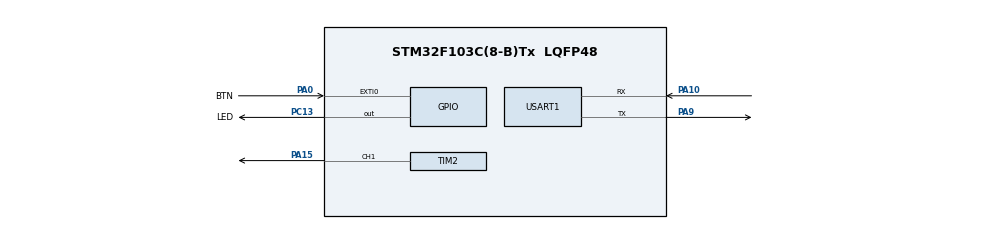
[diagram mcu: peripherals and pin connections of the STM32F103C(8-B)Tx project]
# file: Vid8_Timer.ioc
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Mcu.Family=STM32F1
Mcu.Name=STM32F103C(8-B)Tx
Mcu.Package=LQFP48
NVIC.EXTI0_IRQn=true\:0\:0\:false\:false\:true\:true\:true\:true
NVIC.PriorityGroup=NVIC_PRIORITYGROUP_4
NVIC.TIM2_IRQn=true\:0\:0\:false\:false\:true\:true\:true\:true
PA0-WKUP.GPIO_Label=BTN
PA0-WKUP.GPIO_ModeDefaultEXTI=GPIO_MODE_IT_RISING
PA0-WKUP.GPIO_PuPd=GPIO_PULLUP
PA0-WKUP.Signal=GPXTI0
PA10.Mode=Asynchronous
PA10.Signal=USART1_RX
PA13.Mode=Serial_Wire
PA13.Signal=SYS_JTMS-SWDIO
PA14.Mode=Serial_Wire
PA14.Signal=SYS_JTCK-SWCLK
PA15.Signal=S_TIM2_CH1_ETR
PA9.Mode=Asynchronous
PA9.Signal=USART1_TX
PC13-TAMPER-RTC.GPIO_Label=LED
PC13-TAMPER-RTC.GPIO_ModeDefaultOutputPP=GPIO_MODE_OUTPUT_OD
PC13-TAMPER-RTC.GPIO_PuPd=GPIO_NOPULL
PC13-TAMPER-RTC.PinState=GPIO_PIN_SET
PC13-TAMPER-RTC.Signal=GPIO_Output
ProjectManager.HeapSize=0x200
ProjectManager.StackSize=0x400
ProjectManager.TargetToolchain=STM32CubeIDE
RCC.APB1Freq_Value=8000000
RCC.APB2Freq_Value=8000000
SH.S_TIM2_CH1_ETR.0=TIM2_CH1,PWM Generation1 CH1
TIM2.Channel-PWM\ Generation1\ CH1=TIM_CHANNEL_1
TIM2.Period=999
TIM2.Prescaler=7999
TIM2.Pulse-PWM\ Generation1\ CH1=499
USART1.VirtualMode=VM_ASYNC
VP_TIM2_VS_ClockSourceINT.Mode=Internal
board=custom

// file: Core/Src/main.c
/* USER CODE BEGIN Header */
/**
  ******************************************************************************
  * @file           : main.c
  * @brief          : Main program body
  ******************************************************************************
  * @attention
  *
  * Copyright (c) 2026 STMicroelectronics.
  * All rights reserved.
  *
  * This software is licensed under terms that can be found in the LICENSE file
  * in the root directory of this software component.
  * If no LICENSE file comes with this software, it is provided AS-IS.
  *
  ******************************************************************************
  */
/* USER CODE END Header */
#include "main.h"

/* USER CODE BEGIN Includes */
#include "stdio.h"
/* USER CODE END Includes */

TIM_HandleTypeDef htim2;

UART_HandleTypeDef huart1;

/* USER CODE BEGIN PV */
uint8_t btn_press = 0;
uint8_t timer2_interupt = 0;
/* USER CODE END PV */

void SystemClock_Config(void);
static void MX_GPIO_Init(void);
static void MX_TIM2_Init(void);
static void MX_USART1_UART_Init(void);

/* USER CODE BEGIN 0 */
int _write(int fd, char* ptr, int len) {
  HAL_StatusTypeDef hstatus;

  if (fd == 1 || fd == 2) {
	hstatus = HAL_UART_Transmit(&huart1, (uint8_t *) ptr, len, HAL_MAX_DELAY);
	if (hstatus == HAL_OK)
	  return len;
	else
	  return -1;
  }
  return -1;
}

void HAL_GPIO_EXTI_Callback(uint16_t GPIO_Pin){
	if(GPIO_Pin == BTN_Pin){
		btn_press = 1;
	}
}

void HAL_TIM_PeriodElapsedCallback(TIM_HandleTypeDef *htim)
{
	timer2_interupt = 1;
}
/* USER CODE END 0 */

int main(void)
{

  /* MCU Configuration--------------------------------------------------------*/

  /* Reset of all peripherals, Initializes the Flash interface and the Systick. */
  HAL_Init();

  /* Configure the system clock */
  SystemClock_Config();

  /* Initialize all configured peripherals */
  MX_GPIO_Init();
  MX_TIM2_Init();
  MX_USART1_UART_Init();
  /* USER CODE BEGIN 2 */
  HAL_TIM_Base_Start_IT(&htim2);
  HAL_TIM_PWM_Start(&htim2, TIM_CHANNEL_1);
  /* USER CODE END 2 */

  /* Infinite loop */
  /* USER CODE BEGIN WHILE */
  printf("Start processing......\r\n");

  while (1)
  {
    /* USER CODE END WHILE */

    /* USER CODE BEGIN 3 */
	  if(timer2_interupt == 1){
		  HAL_GPIO_TogglePin(LED_GPIO_Port, LED_Pin);
		  timer2_interupt = 0;
	  }
  }
  /* USER CODE END 3 */
}

void SystemClock_Config(void)
{
  RCC_OscInitTypeDef RCC_OscInitStruct = {0};
  RCC_ClkInitTypeDef RCC_ClkInitStruct = {0};

  /** Initializes the RCC Oscillators according to the specified parameters
  * in the RCC_OscInitTypeDef structure.
  */
  RCC_OscInitStruct.OscillatorType = RCC_OSCILLATORTYPE_HSI;
  RCC_OscInitStruct.HSIState = RCC_HSI_ON;
  RCC_OscInitStruct.HSICalibrationValue = RCC_HSICALIBRATION_DEFAULT;
  RCC_OscInitStruct.PLL.PLLState = RCC_PLL_NONE;
  if (HAL_RCC_OscConfig(&RCC_OscInitStruct) != HAL_OK)
  {
    Error_Handler();
  }

  /** Initializes the CPU, AHB and APB buses clocks
  */
  RCC_ClkInitStruct.ClockType = RCC_CLOCKTYPE_HCLK|RCC_CLOCKTYPE_SYSCLK
                              |RCC_CLOCKTYPE_PCLK1|RCC_CLOCKTYPE_PCLK2;
  RCC_ClkInitStruct.SYSCLKSource = RCC_SYSCLKSOURCE_HSI;
  RCC_ClkInitStruct.AHBCLKDivider = RCC_SYSCLK_DIV1;
  RCC_ClkInitStruct.APB1CLKDivider = RCC_HCLK_DIV1;
  RCC_ClkInitStruct.APB2CLKDivider = RCC_HCLK_DIV1;

  if (HAL_RCC_ClockConfig(&RCC_ClkInitStruct, FLASH_LATENCY_0) != HAL_OK)
  {
    Error_Handler();
  }
}

static void MX_TIM2_Init(void)
{

  TIM_ClockConfigTypeDef sClockSourceConfig = {0};
  TIM_MasterConfigTypeDef sMasterConfig = {0};
  TIM_OC_InitTypeDef sConfigOC = {0};

  htim2.Instance = TIM2;
  htim2.Init.Prescaler = 7999;
  htim2.Init.CounterMode = TIM_COUNTERMODE_UP;
  htim2.Init.Period = 999;
  htim2.Init.ClockDivision = TIM_CLOCKDIVISION_DIV1;
  htim2.Init.AutoReloadPreload = TIM_AUTORELOAD_PRELOAD_DISABLE;
  if (HAL_TIM_Base_Init(&htim2) != HAL_OK)
  {
    Error_Handler();
  }
  sClockSourceConfig.ClockSource = TIM_CLOCKSOURCE_INTERNAL;
  if (HAL_TIM_ConfigClockSource(&htim2, &sClockSourceConfig) != HAL_OK)
  {
    Error_Handler();
  }
  if (HAL_TIM_PWM_Init(&htim2) != HAL_OK)
  {
    Error_Handler();
  }
  sMasterConfig.MasterOutputTrigger = TIM_TRGO_RESET;
  sMasterConfig.MasterSlaveMode = TIM_MASTERSLAVEMODE_DISABLE;
  if (HAL_TIMEx_MasterConfigSynchronization(&htim2, &sMasterConfig) != HAL_OK)
  {
    Error_Handler();
  }
  sConfigOC.OCMode = TIM_OCMODE_PWM1;
  sConfigOC.Pulse = 499;
  sConfigOC.OCPolarity = TIM_OCPOLARITY_HIGH;
  sConfigOC.OCFastMode = TIM_OCFAST_DISABLE;
  if (HAL_TIM_PWM_ConfigChannel(&htim2, &sConfigOC, TIM_CHANNEL_1) != HAL_OK)
  {
    Error_Handler();
  }
  HAL_TIM_MspPostInit(&htim2);

}

static void MX_USART1_UART_Init(void)
{

  huart1.Instance = USART1;
  huart1.Init.BaudRate = 115200;
  huart1.Init.WordLength = UART_WORDLENGTH_8B;
  huart1.Init.StopBits = UART_STOPBITS_1;
  huart1.Init.Parity = UART_PARITY_NONE;
  huart1.Init.Mode = UART_MODE_TX_RX;
  huart1.Init.HwFlowCtl = UART_HWCONTROL_NONE;
  huart1.Init.OverSampling = UART_OVERSAMPLING_16;
  if (HAL_UART_Init(&huart1) != HAL_OK)
  {
    Error_Handler();
  }

}

static void MX_GPIO_Init(void)
{
  GPIO_InitTypeDef GPIO_InitStruct = {0};

  /* GPIO Ports Clock Enable */
  __HAL_RCC_GPIOC_CLK_ENABLE();
  __HAL_RCC_GPIOA_CLK_ENABLE();

  /*Configure GPIO pin Output Level */
  HAL_GPIO_WritePin(LED_GPIO_Port, LED_Pin, GPIO_PIN_SET);

  /*Configure GPIO pin : LED_Pin */
  GPIO_InitStruct.Pin = LED_Pin;
  GPIO_InitStruct.Mode = GPIO_MODE_OUTPUT_OD;
  GPIO_InitStruct.Pull = GPIO_NOPULL;
  GPIO_InitStruct.Speed = GPIO_SPEED_FREQ_LOW;
  HAL_GPIO_Init(LED_GPIO_Port, &GPIO_InitStruct);

  /*Configure GPIO pin : BTN_Pin */
  GPIO_InitStruct.Pin = BTN_Pin;
  GPIO_InitStruct.Mode = GPIO_MODE_IT_RISING;
  GPIO_InitStruct.Pull = GPIO_PULLUP;
  HAL_GPIO_Init(BTN_GPIO_Port, &GPIO_InitStruct);

  /* EXTI interrupt init*/
  HAL_NVIC_SetPriority(EXTI0_IRQn, 0, 0);
  HAL_NVIC_EnableIRQ(EXTI0_IRQn);

}

void Error_Handler(void)
{
  __disable_irq();
  while (1)
  {
  }
}
